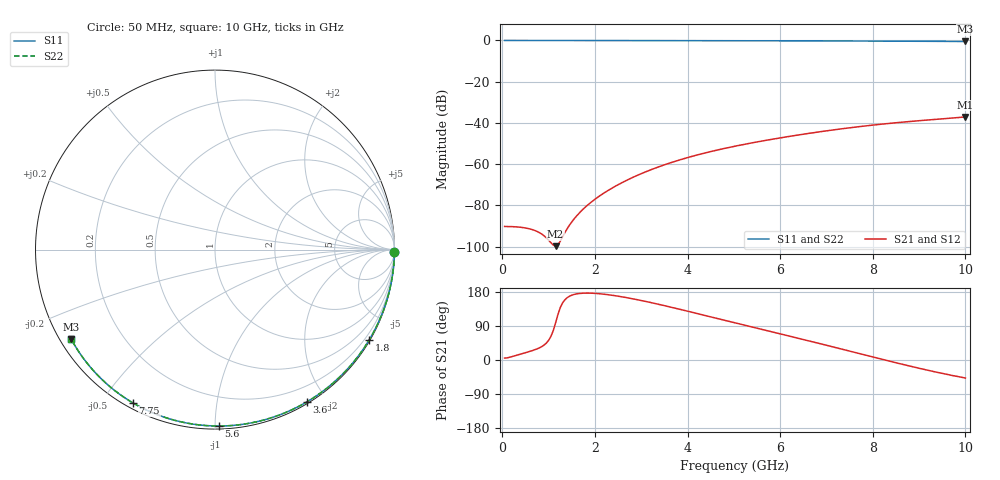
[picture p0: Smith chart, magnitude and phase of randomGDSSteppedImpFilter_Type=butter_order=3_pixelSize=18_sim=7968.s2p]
! freq	dB(S11)	phase(S11)	dB(S12)	phase(S12)
!  dB(S21)	phase(S21)	dB(S22)	phase(S22)
!S-par simulation data
#  GHz  S  DB  R 50
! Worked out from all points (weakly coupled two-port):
!   200 points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, 50 MHz to 10 GHz, reference 50 ohm
!   highest |S21| = -37.13 dB at 10 GHz (marker M1); lowest = -99.8 dB at 1.15 GHz (marker M2)
!   lowest |S11| = -0.5 dB at 10 GHz (marker M3), VSWR 34.70, Z = 1.56 - j14.3 ohm
!   |S11| at or under -10 dB: nowhere
!   |S22| runs from -0.5 to 0.0 dB; largest |S21 - S12| = 0
!   S11 on the Smith chart (normalised r, x): 50 MHz: open; 1.8 GHz: 0.03, -3.70; 3.6 GHz: 0.02, -1.77; 5.6 GHz: 0.02, -1.02; 7.75 GHz: 0.02, -0.60; 10 GHz: 0.03, -0.29
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0.05  -0.00 -0.9  -90.27 5.1  -90.27 5.1  -0.00 -0.9
0.6  -0.01 -10.2  -91.49 22.9  -91.49 22.9  -0.01 -10.2
1.15  -0.02 -19.5  -99.83 97.5  -99.83 97.5  -0.02 -19.5
1.75  -0.04 -29.4  -81.77 176.4  -81.77 176.4  -0.04 -29.4
1.8  -0.04 -30.2  -80.73 176.5  -80.73 176.5  -0.04 -30.2
1.85  -0.04 -31.1  -79.76 176.6  -79.76 176.6  -0.04 -31.1
2  -0.04 -33.5  -77.08 175.8  -77.08 175.8  -0.04 -33.5
2.15  -0.05 -36.0  -74.71 174.3  -74.71 174.3  -0.05 -36.0
2.35  -0.05 -39.2  -71.91 171.2  -71.91 171.2  -0.05 -39.2
2.55  -0.05 -42.5  -69.41 167.4  -69.41 167.4  -0.05 -42.5
2.95  -0.06 -48.8  -65.13 158.3  -65.13 158.3  -0.06 -48.8
3.4  -0.07 -55.9  -61.14 146.3  -61.14 146.3  -0.07 -55.9
3.6  -0.08 -59.0  -59.60 140.6  -59.60 140.6  -0.08 -59.0
4.3  -0.10 -69.7  -55.03 119.9  -55.03 119.9  -0.10 -69.7
5.05  -0.12 -80.8  -51.20 97.3  -51.20 97.3  -0.12 -80.8
5.6  -0.15 -88.7  -48.84 80.9  -48.84 80.9  -0.15 -88.7
6.15  -0.17 -96.4  -46.73 64.6  -46.73 64.6  -0.17 -96.4
6.7  -0.20 -104.0  -44.83 48.1  -44.83 48.1  -0.20 -104.0
7.75  -0.28 -118.2  -41.71 15.8  -41.71 15.8  -0.28 -118.2
8.35  -0.33 -126.2  -40.26 -2.7  -40.26 -2.7  -0.33 -126.2
9.2  -0.41 -137.4  -38.57 -27.4  -38.57 -27.4  -0.41 -137.4
10  -0.50 -148.0  -37.13 -47.6  -37.13 -47.6  -0.50 -148.0
